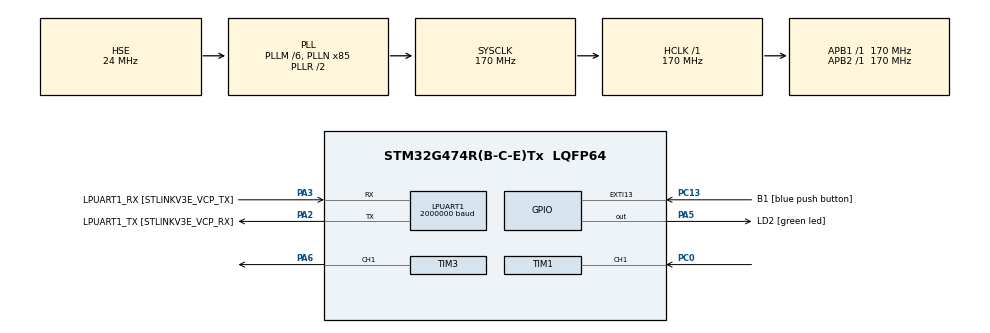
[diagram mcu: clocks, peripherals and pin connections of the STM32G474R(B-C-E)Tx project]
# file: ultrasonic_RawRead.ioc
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LPUART1.BaudRate=2000000
Mcu.Family=STM32G4
Mcu.Name=STM32G474R(B-C-E)Tx
Mcu.Package=LQFP64
NVIC.EXTI15_10_IRQn=true\:0\:0\:false\:false\:true\:true\:true\:true
NVIC.PriorityGroup=NVIC_PRIORITYGROUP_4
PA13.GPIO_Label=T_SWDIO
PA13.Signal=SYS_JTMS-SWDIO
PA14.GPIO_Label=T_SWCLK
PA14.Signal=SYS_JTCK-SWCLK
PA2.GPIO_Label=LPUART1_TX [STLINKV3E_VCP_RX]
PA2.Mode=Asynchronous
PA2.Signal=LPUART1_TX
PA3.GPIO_Label=LPUART1_RX [STLINKV3E_VCP_TX]
PA3.Mode=Asynchronous
PA3.Signal=LPUART1_RX
PA5.GPIO_Label=LD2 [green led]
PA5.Signal=GPIO_Output
PA6.Signal=S_TIM3_CH1
PB3.GPIO_Label=T_SWO
PB3.Signal=SYS_JTDO-SWO
PC0.Signal=S_TIM1_CH1
PC13.GPIO_Label=B1 [blue push button]
PC13.Signal=GPXTI13
PC14-OSC32_IN.GPIO_Label=RCC_OSC32_IN
PC14-OSC32_IN.Signal=RCC_OSC32_IN
PC15-OSC32_OUT.GPIO_Label=RCC_OSC32_OUT
PC15-OSC32_OUT.Signal=RCC_OSC32_OUT
PF0-OSC_IN.GPIO_Label=RCC_OSC_IN
PF0-OSC_IN.Mode=HSE-External-Oscillator
PF0-OSC_IN.Signal=RCC_OSC_IN
PF1-OSC_OUT.GPIO_Label=RCC_OSC_OUT
PF1-OSC_OUT.Mode=HSE-External-Oscillator
PF1-OSC_OUT.Signal=RCC_OSC_OUT
ProjectManager.HeapSize=0x200
ProjectManager.StackSize=0x400
ProjectManager.TargetToolchain=STM32CubeIDE
RCC.ADC12Freq_Value=170000000
RCC.ADC345Freq_Value=170000000
RCC.AHBFreq_Value=170000000
RCC.APB1Freq_Value=170000000
RCC.APB1TimFreq_Value=170000000
RCC.APB2Freq_Value=170000000
RCC.APB2TimFreq_Value=170000000
RCC.CortexFreq_Value=170000000
RCC.EXTERNAL_CLOCK_VALUE=12288000
RCC.HCLKFreq_Value=170000000
RCC.HSE_VALUE=24000000
RCC.HSI48_VALUE=48000000
RCC.HSI_VALUE=16000000
RCC.LSE_VALUE=32768
RCC.PLLM=RCC_PLLM_DIV6
RCC.PLLN=85
RCC.PLLSourceVirtual=RCC_PLLSOURCE_HSE
RCC.RTCClockSelection=RCC_RTCCLKSOURCE_LSE
RCC.SYSCLKFreq_VALUE=170000000
RCC.SYSCLKSource=RCC_SYSCLKSOURCE_PLLCLK
RCC.USBFreq_Value=170000000
RCC.VCOOutputFreq_Value=340000000
SH.S_TIM1_CH1.0=TIM1_CH1,PWM_Input_1
SH.S_TIM3_CH1.0=TIM3_CH1,PWM Generation1 CH1
TIM1.PeriodNoDither=65535
TIM1.Prescaler=169
TIM3.Channel-PWM\ Generation1\ CH1=TIM_CHANNEL_1
TIM3.PeriodNoDither=65535
TIM3.Prescaler=169
TIM3.PulseNoDither_1=15
VP_SYS_VS_DBSignals.Mode=DisableDeadBatterySignals
VP_TIM1_VS_ClockSourceINT.Mode=Internal
VP_TIM3_VS_ClockSourceINT.Mode=Internal
board=NUCLEO-G474RE

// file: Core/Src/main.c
/* USER CODE BEGIN Header */
/**
  ******************************************************************************
  * @file           : main.c
  * @brief          : Main program body
  ******************************************************************************
  * @attention
  *
  * Copyright (c) 2026 STMicroelectronics.
  * All rights reserved.
  *
  * This software is licensed under terms that can be found in the LICENSE file
  * in the root directory of this software component.
  * If no LICENSE file comes with this software, it is provided AS-IS.
  *
  ******************************************************************************
  */
/* USER CODE END Header */
#include "main.h"

UART_HandleTypeDef hlpuart1;

TIM_HandleTypeDef htim1;
TIM_HandleTypeDef htim3;

/* USER CODE BEGIN PV */
uint16_t UltrasonicTime,UltrasonicPeriod;
float ConvertedValue_cm = 300.0 ;
uint8_t tx_buffer[6];

/* USER CODE END PV */

void SystemClock_Config(void);
static void MX_GPIO_Init(void);
static void MX_TIM1_Init(void);
static void MX_TIM3_Init(void);
static void MX_LPUART1_UART_Init(void);

int main(void)
{

  /* MCU Configuration--------------------------------------------------------*/

  /* Reset of all peripherals, Initializes the Flash interface and the Systick. */
  HAL_Init();

  /* Configure the system clock */
  SystemClock_Config();

  /* Initialize all configured peripherals */
  MX_GPIO_Init();
  MX_TIM1_Init();
  MX_TIM3_Init();
  MX_LPUART1_UART_Init();
  /* USER CODE BEGIN 2 */
//  uint8_t text[]="Hello FIBO";
//  HAL_UART_Transmit(&hlpuart1, text, 11, 10);
  HAL_TIM_Base_Start(&htim3);
  /* 2. Enable the PWM signal output on Timer 3, Channel 1 */
  HAL_TIM_PWM_Start(&htim3, TIM_CHANNEL_1);

  HAL_TIM_Base_Start(&htim1);
  HAL_TIM_IC_Start(&htim1, TIM_CHANNEL_1);
  HAL_TIM_IC_Start(&htim1, TIM_CHANNEL_2);

  /* USER CODE END 2 */

  /* Infinite loop */
  while (1)
  {

    /* USER CODE BEGIN 3 */
	  __HAL_TIM_SET_COMPARE(&htim3, TIM_CHANNEL_1 , 15);
	  UltrasonicTime = __HAL_TIM_GET_COMPARE(&htim1,TIM_CHANNEL_2);
	  UltrasonicPeriod = __HAL_TIM_GET_COMPARE(&htim1,TIM_CHANNEL_1);
//	  if (HAL_GPIO_ReadPin(GPIOC, GPIO_PIN_13) == 1) {
	      HAL_GPIO_WritePin(GPIOA, GPIO_PIN_5, 1); // Turn on LED
	      ConvertedValue_cm = UltrasonicTime/58.0;

	      // 1. Create a buffer for the total packet: 2 Header + 4 Float + 2 Terminator = 8 bytes
	      uint8_t tx_buffer[8];

	      // 2. Treat the float's memory address as an array of bytes
	      uint8_t *float_bytes = (uint8_t *)&ConvertedValue_cm;

	      // 3. Add Headers
	      tx_buffer[0] = 0x7E;
	      tx_buffer[1] = 0x7E;

	      // 4. Add the 4 bytes of the float variable
	      tx_buffer[2] = float_bytes[0];
	      tx_buffer[3] = float_bytes[1];
	      tx_buffer[4] = float_bytes[2];
	      tx_buffer[5] = float_bytes[3];

	      // 5. Add Terminators
	      tx_buffer[6] = 0x03;
	      tx_buffer[7] = 0x03;

	      // 6. Transmit the full 8-byte packet
	      // Note: I increased the timeout from 10 to 100 just to be safe
	      HAL_UART_Transmit(&hlpuart1, tx_buffer, 8, 100);

	      HAL_GPIO_WritePin(GPIOA, GPIO_PIN_5, 0); // Turn off LED
//	  }
  }
  /* USER CODE END 3 */
}

void SystemClock_Config(void)
{
  RCC_OscInitTypeDef RCC_OscInitStruct = {0};
  RCC_ClkInitTypeDef RCC_ClkInitStruct = {0};

  /** Configure the main internal regulator output voltage
  */
  HAL_PWREx_ControlVoltageScaling(PWR_REGULATOR_VOLTAGE_SCALE1_BOOST);

  /** Initializes the RCC Oscillators according to the specified parameters
  * in the RCC_OscInitTypeDef structure.
  */
  RCC_OscInitStruct.OscillatorType = RCC_OSCILLATORTYPE_HSE;
  RCC_OscInitStruct.HSEState = RCC_HSE_ON;
  RCC_OscInitStruct.PLL.PLLState = RCC_PLL_ON;
  RCC_OscInitStruct.PLL.PLLSource = RCC_PLLSOURCE_HSE;
  RCC_OscInitStruct.PLL.PLLM = RCC_PLLM_DIV6;
  RCC_OscInitStruct.PLL.PLLN = 85;
  RCC_OscInitStruct.PLL.PLLP = RCC_PLLP_DIV2;
  RCC_OscInitStruct.PLL.PLLQ = RCC_PLLQ_DIV2;
  RCC_OscInitStruct.PLL.PLLR = RCC_PLLR_DIV2;
  if (HAL_RCC_OscConfig(&RCC_OscInitStruct) != HAL_OK)
  {
    Error_Handler();
  }

  /** Initializes the CPU, AHB and APB buses clocks
  */
  RCC_ClkInitStruct.ClockType = RCC_CLOCKTYPE_HCLK|RCC_CLOCKTYPE_SYSCLK
                              |RCC_CLOCKTYPE_PCLK1|RCC_CLOCKTYPE_PCLK2;
  RCC_ClkInitStruct.SYSCLKSource = RCC_SYSCLKSOURCE_PLLCLK;
  RCC_ClkInitStruct.AHBCLKDivider = RCC_SYSCLK_DIV1;
  RCC_ClkInitStruct.APB1CLKDivider = RCC_HCLK_DIV1;
  RCC_ClkInitStruct.APB2CLKDivider = RCC_HCLK_DIV1;

  if (HAL_RCC_ClockConfig(&RCC_ClkInitStruct, FLASH_LATENCY_4) != HAL_OK)
  {
    Error_Handler();
  }
}

static void MX_LPUART1_UART_Init(void)
{

  hlpuart1.Instance = LPUART1;
  hlpuart1.Init.BaudRate = 2000000;
  hlpuart1.Init.WordLength = UART_WORDLENGTH_8B;
  hlpuart1.Init.StopBits = UART_STOPBITS_1;
  hlpuart1.Init.Parity = UART_PARITY_NONE;
  hlpuart1.Init.Mode = UART_MODE_TX_RX;
  hlpuart1.Init.HwFlowCtl = UART_HWCONTROL_NONE;
  hlpuart1.Init.OneBitSampling = UART_ONE_BIT_SAMPLE_DISABLE;
  hlpuart1.Init.ClockPrescaler = UART_PRESCALER_DIV1;
  hlpuart1.AdvancedInit.AdvFeatureInit = UART_ADVFEATURE_NO_INIT;
  if (HAL_UART_Init(&hlpuart1) != HAL_OK)
  {
    Error_Handler();
  }
  if (HAL_UARTEx_SetTxFifoThreshold(&hlpuart1, UART_TXFIFO_THRESHOLD_1_8) != HAL_OK)
  {
    Error_Handler();
  }
  if (HAL_UARTEx_SetRxFifoThreshold(&hlpuart1, UART_RXFIFO_THRESHOLD_1_8) != HAL_OK)
  {
    Error_Handler();
  }
  if (HAL_UARTEx_DisableFifoMode(&hlpuart1) != HAL_OK)
  {
    Error_Handler();
  }

}

static void MX_TIM1_Init(void)
{

  TIM_ClockConfigTypeDef sClockSourceConfig = {0};
  TIM_SlaveConfigTypeDef sSlaveConfig = {0};
  TIM_IC_InitTypeDef sConfigIC = {0};
  TIM_MasterConfigTypeDef sMasterConfig = {0};

  htim1.Instance = TIM1;
  htim1.Init.Prescaler = 169;
  htim1.Init.CounterMode = TIM_COUNTERMODE_UP;
  htim1.Init.Period = 65535;
  htim1.Init.ClockDivision = TIM_CLOCKDIVISION_DIV1;
  htim1.Init.RepetitionCounter = 0;
  htim1.Init.AutoReloadPreload = TIM_AUTORELOAD_PRELOAD_DISABLE;
  if (HAL_TIM_Base_Init(&htim1) != HAL_OK)
  {
    Error_Handler();
  }
  sClockSourceConfig.ClockSource = TIM_CLOCKSOURCE_INTERNAL;
  if (HAL_TIM_ConfigClockSource(&htim1, &sClockSourceConfig) != HAL_OK)
  {
    Error_Handler();
  }
  if (HAL_TIM_IC_Init(&htim1) != HAL_OK)
  {
    Error_Handler();
  }
  sSlaveConfig.SlaveMode = TIM_SLAVEMODE_RESET;
  sSlaveConfig.InputTrigger = TIM_TS_TI1FP1;
  sSlaveConfig.TriggerPolarity = TIM_INPUTCHANNELPOLARITY_RISING;
  sSlaveConfig.TriggerPrescaler = TIM_ICPSC_DIV1;
  sSlaveConfig.TriggerFilter = 0;
  if (HAL_TIM_SlaveConfigSynchro(&htim1, &sSlaveConfig) != HAL_OK)
  {
    Error_Handler();
  }
  sConfigIC.ICPolarity = TIM_INPUTCHANNELPOLARITY_RISING;
  sConfigIC.ICSelection = TIM_ICSELECTION_DIRECTTI;
  sConfigIC.ICPrescaler = TIM_ICPSC_DIV1;
  sConfigIC.ICFilter = 0;
  if (HAL_TIM_IC_ConfigChannel(&htim1, &sConfigIC, TIM_CHANNEL_1) != HAL_OK)
  {
    Error_Handler();
  }
  sConfigIC.ICPolarity = TIM_INPUTCHANNELPOLARITY_FALLING;
  sConfigIC.ICSelection = TIM_ICSELECTION_INDIRECTTI;
  if (HAL_TIM_IC_ConfigChannel(&htim1, &sConfigIC, TIM_CHANNEL_2) != HAL_OK)
  {
    Error_Handler();
  }
  sMasterConfig.MasterOutputTrigger = TIM_TRGO_RESET;
  sMasterConfig.MasterOutputTrigger2 = TIM_TRGO2_RESET;
  sMasterConfig.MasterSlaveMode = TIM_MASTERSLAVEMODE_DISABLE;
  if (HAL_TIMEx_MasterConfigSynchronization(&htim1, &sMasterConfig) != HAL_OK)
  {
    Error_Handler();
  }

}

static void MX_TIM3_Init(void)
{

  TIM_ClockConfigTypeDef sClockSourceConfig = {0};
  TIM_MasterConfigTypeDef sMasterConfig = {0};
  TIM_OC_InitTypeDef sConfigOC = {0};

  htim3.Instance = TIM3;
  htim3.Init.Prescaler = 169;
  htim3.Init.CounterMode = TIM_COUNTERMODE_UP;
  htim3.Init.Period = 65535;
  htim3.Init.ClockDivision = TIM_CLOCKDIVISION_DIV1;
  htim3.Init.AutoReloadPreload = TIM_AUTORELOAD_PRELOAD_DISABLE;
  if (HAL_TIM_Base_Init(&htim3) != HAL_OK)
  {
    Error_Handler();
  }
  sClockSourceConfig.ClockSource = TIM_CLOCKSOURCE_INTERNAL;
  if (HAL_TIM_ConfigClockSource(&htim3, &sClockSourceConfig) != HAL_OK)
  {
    Error_Handler();
  }
  if (HAL_TIM_PWM_Init(&htim3) != HAL_OK)
  {
    Error_Handler();
  }
  sMasterConfig.MasterOutputTrigger = TIM_TRGO_RESET;
  sMasterConfig.MasterSlaveMode = TIM_MASTERSLAVEMODE_DISABLE;
  if (HAL_TIMEx_MasterConfigSynchronization(&htim3, &sMasterConfig) != HAL_OK)
  {
    Error_Handler();
  }
  sConfigOC.OCMode = TIM_OCMODE_PWM1;
  sConfigOC.Pulse = 15;
  sConfigOC.OCPolarity = TIM_OCPOLARITY_HIGH;
  sConfigOC.OCFastMode = TIM_OCFAST_DISABLE;
  if (HAL_TIM_PWM_ConfigChannel(&htim3, &sConfigOC, TIM_CHANNEL_1) != HAL_OK)
  {
    Error_Handler();
  }
  HAL_TIM_MspPostInit(&htim3);

}

static void MX_GPIO_Init(void)
{
  GPIO_InitTypeDef GPIO_InitStruct = {0};

  /* GPIO Ports Clock Enable */
  __HAL_RCC_GPIOC_CLK_ENABLE();
  __HAL_RCC_GPIOF_CLK_ENABLE();
  __HAL_RCC_GPIOA_CLK_ENABLE();
  __HAL_RCC_GPIOB_CLK_ENABLE();

  /*Configure GPIO pin Output Level */
  HAL_GPIO_WritePin(LD2_GPIO_Port, LD2_Pin, GPIO_PIN_RESET);

  /*Configure GPIO pin : B1_Pin */
  GPIO_InitStruct.Pin = B1_Pin;
  GPIO_InitStruct.Mode = GPIO_MODE_IT_RISING;
  GPIO_InitStruct.Pull = GPIO_NOPULL;
  HAL_GPIO_Init(B1_GPIO_Port, &GPIO_InitStruct);

  /*Configure GPIO pin : LD2_Pin */
  GPIO_InitStruct.Pin = LD2_Pin;
  GPIO_InitStruct.Mode = GPIO_MODE_OUTPUT_PP;
  GPIO_InitStruct.Pull = GPIO_NOPULL;
  GPIO_InitStruct.Speed = GPIO_SPEED_FREQ_LOW;
  HAL_GPIO_Init(LD2_GPIO_Port, &GPIO_InitStruct);

  /* EXTI interrupt init*/
  HAL_NVIC_SetPriority(EXTI15_10_IRQn, 0, 0);
  HAL_NVIC_EnableIRQ(EXTI15_10_IRQn);

}

/* USER CODE BEGIN 4 */
void HAL_GPIO_EXTI_Callback(uint16_t GPIO_Pin) {
//	if (GPIO_Pin == GPIO_PIN_13) {
////		HAL_GPIO_TogglePin(GPIOA, GPIO_PIN_5);
//		HAL_GPIO_WritePin(GPIOA, GPIO_PIN_5, 1);
//		 uint8_t text[]=" Hello FIBO ";
//		  HAL_UART_Transmit(&hlpuart1, text, 11, 10);
//
//		  tx_buffer[0] = 0x7E;
//		    tx_buffer[1] = 0x7E;
//
//		    // 3. Put your actual payload data in the middle
//		    // (Splitting a 16-bit integer into two 8-bit bytes)
//		    tx_buffer[2] = (motor_speed >> 8) & 0xFF; // High byte
//		    tx_buffer[3] = motor_speed & 0xFF;        // Low byte
//
//		    // 4. Put the Terminator bytes at the very end (must match '03 03')
//		    tx_buffer[4] = 0x03;
//		    tx_buffer[5] = 0x03;
//
//		    // 5. Transmit the entire 6-byte packet over your standard USART
//		    HAL_UART_Transmit(&hlpuart1, tx_buffer, 6, 10);
//
//		    HAL_Delay(100);
//		    HAL_GPIO_WritePin(GPIOA, GPIO_PIN_5, 0);
//
//	}
}

/* USER CODE END 4 */

void Error_Handler(void)
{
  __disable_irq();
  while (1)
  {
  }
}
